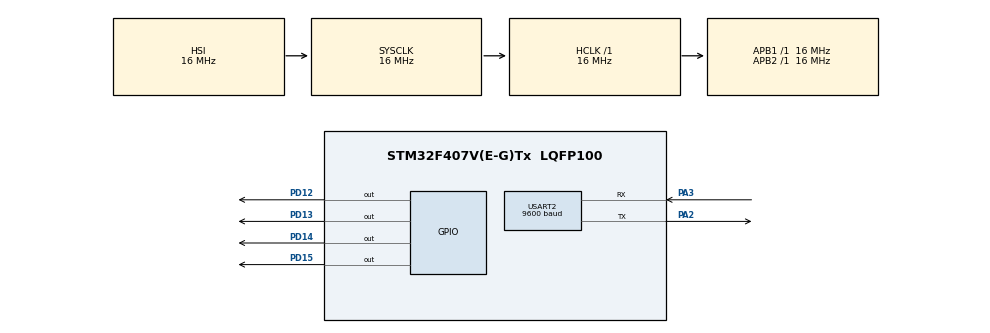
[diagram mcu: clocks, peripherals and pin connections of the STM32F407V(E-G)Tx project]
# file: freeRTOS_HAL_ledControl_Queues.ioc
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Mcu.Family=STM32F4
Mcu.Name=STM32F407V(E-G)Tx
Mcu.Package=LQFP100
NVIC.PriorityGroup=NVIC_PRIORITYGROUP_4
NVIC.TIM6_DAC_IRQn=true\:15\:0\:false\:false\:true\:false\:true\:true
NVIC.TimeBase=TIM6_DAC_IRQn
NVIC.TimeBaseIP=TIM6
NVIC.USART2_IRQn=true\:0\:0\:true\:true\:true\:1\:true\:true\:true
PA13.Mode=Serial_Wire
PA13.Signal=SYS_JTMS-SWDIO
PA14.Mode=Serial_Wire
PA14.Signal=SYS_JTCK-SWCLK
PA2.Mode=Asynchronous
PA2.Signal=USART2_TX
PA3.Mode=Asynchronous
PA3.Signal=USART2_RX
PD12.Signal=GPIO_Output
PD13.Signal=GPIO_Output
PD14.Signal=GPIO_Output
PD15.Signal=GPIO_Output
ProjectManager.HeapSize=0x200
ProjectManager.StackSize=0x400
ProjectManager.TargetToolchain=STM32CubeIDE
RCC.AHBFreq_Value=16000000
RCC.APB1Freq_Value=16000000
RCC.APB2Freq_Value=16000000
RCC.CortexFreq_Value=16000000
RCC.HSE_VALUE=25000000
RCC.HSI_VALUE=16000000
RCC.LSE_VALUE=32768
RCC.SYSCLKFreq_VALUE=16000000
RCC.VCOOutputFreq_Value=192000000
USART2.BaudRate=9600
USART2.VirtualMode=VM_ASYNC
VP_SYS_VS_tim6.Mode=TIM6
board=custom

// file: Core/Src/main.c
/* USER CODE BEGIN Header */
/**
  ******************************************************************************
  * @file           : main.c
  * @brief          : Main program body
  ******************************************************************************
  * @attention
  *
  * Copyright (c) 2022 STMicroelectronics.
  * All rights reserved.
  *
  * This software is licensed under terms that can be found in the LICENSE file
  * in the root directory of this software component.
  * If no LICENSE file comes with this software, it is provided AS-IS.
  *
  ******************************************************************************
  */
/* USER CODE END Header */
#include "main.h"

/* USER CODE BEGIN Includes */
#include "FreeRTOS.h"
#include "task.h"
#include "queue.h"
#include "timers.h"
/* USER CODE END Includes */

 UART_HandleTypeDef huart2;

/* USER CODE BEGIN PV */

 /*************************definations*****************************************/

#define LED_ON 			1
#define LED_OFF			2
#define LED_TOGGLE_ON	3
#define LED_TOGGLE_OFF	4
#define LED_STATUS		5
#define LED_EXIT		6

 typedef struct
 {
	 uint8_t COMMAND_NUM;
	 uint8_t COMMAND_ARGS[10];
 }AppCommands_t;

 char menu[]={	 "    				 \r\n" \
		 	 	 "Menu************** \r\n" \
		 	 	 "Led On		-> 1 \r\n" \
		 	 	 "Led Off		-> 2 \r\n" \
				 "Led Toggle On	-> 3 \r\n" \
				 "Led Toggle Off-> 4 \r\n" \
				 "Led Status	-> 5 \r\n" \
				 "Led App Exit	-> 6 \r\n" \
				 "    				 \r\n" \
				 "Type Your Option:  \r\n" };

 /*************************tasks***********************************************/
 TaskHandle_t task1MenuHandle 			= NULL;
 TaskHandle_t task2CommandHandle 		= NULL;
 TaskHandle_t task3CommandProcessHandle = NULL;
 TaskHandle_t task4UartWriteHandle 		= NULL;

 /***********************queues***********************************************/
 QueueHandle_t UartWriteQueue 	= NULL;
 QueueHandle_t CommandQueue 	= NULL;

 /***********************timers***********************************************/
 TimerHandle_t LedTimerHandle 	= NULL;

 /***********************variables********************************************/
uint8_t rxData=0;
uint8_t rxDataBuff[20]={0};
uint8_t rxDataCount=0;

/***********************functions*********************************************/
 void Task1_Menu_Display(void *params);
 void Task2_Command_Handling_Handler(void *params);
 void Task3_Command_Process_Handler(void *params);
 void Task4_Uart_Write_Handler(void *params);
 uint8_t getCommandCode(uint8_t *buffer);
 uint8_t getArguments(uint8_t *buffer);

 void ledOn(void);
 void ledOff(void);
 void ledToggleOff(void);
 void ledToggleOn(uint32_t duration);
 void ledStatus(char *ledStateMessage);
 void ledExit(char *ledExitMessage);
 void ledError(char *ledErrorMessage);

/* USER CODE END PV */

void SystemClock_Config(void);
static void MX_GPIO_Init(void);
static void MX_USART2_UART_Init(void);
static void MX_NVIC_Init(void);
/* USER CODE BEGIN PFP */

uint8_t getCommandCode(uint8_t *buffer)
{
	return buffer[0]-48;
}
uint8_t getArguments(uint8_t *buffer)
{
	return buffer[0];
}
void ledOn(void)
{
	HAL_GPIO_WritePin(GPIOD, GPIO_PIN_12 | GPIO_PIN_13 | GPIO_PIN_14 | GPIO_PIN_15, GPIO_PIN_SET);
}
void ledOff(void)
{
	HAL_GPIO_WritePin(GPIOD, GPIO_PIN_12 | GPIO_PIN_13 | GPIO_PIN_14 | GPIO_PIN_15, GPIO_PIN_RESET);
}
void toggle(void)
{
	HAL_GPIO_TogglePin(GPIOD, GPIO_PIN_12 | GPIO_PIN_13 | GPIO_PIN_14 | GPIO_PIN_15);
}
void ledToggleOn(uint32_t duration)
{
	if(LedTimerHandle == NULL)
		LedTimerHandle = xTimerCreate("LedToggleTimer", duration, 1, 0, toggle);

	xTimerStart(LedTimerHandle, portMAX_DELAY);
}
void ledToggleOff(void)
{
	xTimerStop(LedTimerHandle, portMAX_DELAY);
	ledOff();
}
void ledExit(char *ledExitMessage)
{
	sprintf(ledExitMessage, "System is closing and go to sleep \r\n");
	xQueueSend(UartWriteQueue, &ledExitMessage, portMAX_DELAY);

	vTaskDelete(task1MenuHandle);
	vTaskDelete(task2CommandHandle);
	vTaskDelete(task3CommandProcessHandle);
	vTaskDelete(task4UartWriteHandle);

	HAL_UART_DeInit(&huart2);

	HAL_NVIC_DisableIRQ(USART2_IRQn);
}
void ledError(char *ledErrorMessage)
{
	sprintf(ledErrorMessage, "Wrong Led Status \r\n");
	xQueueSend(UartWriteQueue, &ledErrorMessage, portMAX_DELAY);
}
void ledStatus(char *ledStateMessage)
{
	sprintf(ledStateMessage, "Led Status is: %d \r\n", HAL_GPIO_ReadPin(GPIOD, GPIO_PIN_12));
	xQueueSend(UartWriteQueue, &ledStateMessage, portMAX_DELAY);
}
void vApplicationIdleHook(void)
{
//	HAL_PWR_EnterSTANDBYMode
	 __WFI();
}
void HAL_UART_RxCpltCallback(UART_HandleTypeDef *huart)
{

	BaseType_t xHigherPriorityTaskWoken = pdFALSE;
	if(huart->Instance == USART2 )
	{

		if(rxData == 10)
		{
			xTaskNotifyFromISR(task1MenuHandle, 0, eNoAction, xHigherPriorityTaskWoken);
			xTaskNotifyFromISR(task2CommandHandle, 0, eNoAction, xHigherPriorityTaskWoken);
			rxDataCount=0;
		}
		else
			rxDataBuff[rxDataCount++]=rxData;

		__HAL_UART_CLEAR_FLAG(&huart2,UART_FLAG_RXNE);
		HAL_UART_Receive_IT(&huart2, &rxData, sizeof(rxData));
	}

	if(xHigherPriorityTaskWoken == pdTRUE)
	{
		taskYIELD();
	}
}

void sendMessage(char *message)
{
	while(__HAL_UART_GET_FLAG(&huart2,UART_FLAG_TXE) != SET);
	HAL_UART_Transmit (&huart2, &message[0], strlen(message), portMAX_DELAY);
}

void Task1_Menu_Display(void *params)
{
	char *task1RxData = menu;

	while(1)
	{

		//send data -> uart_queue
		xQueueSend(UartWriteQueue, &task1RxData, portMAX_DELAY);
		//wait notify
		xTaskNotifyWait(0, 0, NULL, portMAX_DELAY);
	}
}
void Task2_Command_Handling_Handler(void *params)
{
	uint8_t commandCode=0;

	AppCommands_t *appTxCmd;
	while(1)
	{
		xTaskNotifyWait(0, 0, 0, portMAX_DELAY);
		appTxCmd = (AppCommands_t*)pvPortMalloc(sizeof(AppCommands_t));

		taskENTER_CRITICAL();
		commandCode = getCommandCode(&rxDataBuff[0]);
		appTxCmd->COMMAND_NUM=commandCode;
		getArguments(appTxCmd->COMMAND_ARGS);
		taskEXIT_CRITICAL();
		//command_buffer -> command_queue
		xQueueSend(CommandQueue, &appTxCmd, portMAX_DELAY);
	}
}
void Task3_Command_Process_Handler(void *params)
{
	AppCommands_t *appRxCmd;
	char taskStateMessage[50];
	uint16_t toggleTime = pdMS_TO_TICKS(500);
	while(1)
	{
		//READ FROM COMMAND_QUEUE
		xQueueReceive(CommandQueue, (void*)&appRxCmd, portMAX_DELAY);

		//PROCESS
		if(appRxCmd->COMMAND_NUM == LED_ON)
		{
			ledOn();
		}
		else if(appRxCmd->COMMAND_NUM == LED_OFF)
		{
			ledOff();
		}
		else if(appRxCmd->COMMAND_NUM == LED_TOGGLE_ON)
		{
			ledToggleOn(toggleTime);
		}
		else if(appRxCmd->COMMAND_NUM == LED_TOGGLE_OFF)
		{
			ledToggleOff();
		}
		else if(appRxCmd->COMMAND_NUM == LED_STATUS)
		{
			ledStatus(taskStateMessage);
		}
		else if(appRxCmd->COMMAND_NUM == LED_EXIT)
		{
			ledExit(taskStateMessage);
		}
		else
			ledError(taskStateMessage);
	}
}
void Task4_Uart_Write_Handler(void *params)
{
	char *task4TxData=NULL;
	while(1)
	{
		//READ FROM UART_WRITE_QUEUE
		xQueueReceive(UartWriteQueue, &task4TxData, portMAX_DELAY);
		//SEND MESSAGE
		sendMessage(task4TxData);
	}
}

/* USER CODE END PFP */

int main(void)
{

  /* MCU Configuration--------------------------------------------------------*/

  /* Reset of all peripherals, Initializes the Flash interface and the Systick. */
  HAL_Init();

  /* Configure the system clock */
  SystemClock_Config();

  /* Initialize all configured peripherals */
  MX_GPIO_Init();
  MX_USART2_UART_Init();

  /* Initialize interrupts */
  MX_NVIC_Init();
  /* USER CODE BEGIN 2 */

  sendMessage("This is Queue Command processing.\r\n");

  UartWriteQueue 	= xQueueCreate(50, sizeof(char *));
  CommandQueue		= xQueueCreate(10, sizeof(AppCommands_t));

  if((UartWriteQueue != NULL) && (CommandQueue != NULL))
  {

	  sendMessage("Queue creation succesful.\r\n");

	  xTaskCreate(Task1_Menu_Display,
				  "task1 Menu Display",
				  configMINIMAL_STACK_SIZE*3,
				  NULL,
				  1,
				  &task1MenuHandle);

	  xTaskCreate(Task2_Command_Handling_Handler,
				  "task2 Command Handling",
				  configMINIMAL_STACK_SIZE*3,
				  NULL,
				  2,
				  &task2CommandHandle);

	  xTaskCreate(Task3_Command_Process_Handler,
				  "task3 Command Process",
				  configMINIMAL_STACK_SIZE*3,
				  NULL,
				  2,
				  &task3CommandProcessHandle);

	  xTaskCreate(Task4_Uart_Write_Handler,
				  "task4 Uart Write",
				  configMINIMAL_STACK_SIZE*3,
				  NULL,
				  2,
				  &task4UartWriteHandle);

	  vTaskStartScheduler();
  }
  else
  {

	  sendMessage("Queue creation failed.\r\n");
  }

  /* USER CODE END 2 */

  /* Infinite loop */
  while (1)
  {

  }
}

void SystemClock_Config(void)
{
  RCC_OscInitTypeDef RCC_OscInitStruct = {0};
  RCC_ClkInitTypeDef RCC_ClkInitStruct = {0};

  /** Configure the main internal regulator output voltage
  */
  __HAL_RCC_PWR_CLK_ENABLE();
  __HAL_PWR_VOLTAGESCALING_CONFIG(PWR_REGULATOR_VOLTAGE_SCALE1);

  /** Initializes the RCC Oscillators according to the specified parameters
  * in the RCC_OscInitTypeDef structure.
  */
  RCC_OscInitStruct.OscillatorType = RCC_OSCILLATORTYPE_HSI;
  RCC_OscInitStruct.HSIState = RCC_HSI_ON;
  RCC_OscInitStruct.HSICalibrationValue = RCC_HSICALIBRATION_DEFAULT;
  RCC_OscInitStruct.PLL.PLLState = RCC_PLL_NONE;
  if (HAL_RCC_OscConfig(&RCC_OscInitStruct) != HAL_OK)
  {
    Error_Handler();
  }

  /** Initializes the CPU, AHB and APB buses clocks
  */
  RCC_ClkInitStruct.ClockType = RCC_CLOCKTYPE_HCLK|RCC_CLOCKTYPE_SYSCLK
                              |RCC_CLOCKTYPE_PCLK1|RCC_CLOCKTYPE_PCLK2;
  RCC_ClkInitStruct.SYSCLKSource = RCC_SYSCLKSOURCE_HSI;
  RCC_ClkInitStruct.AHBCLKDivider = RCC_SYSCLK_DIV1;
  RCC_ClkInitStruct.APB1CLKDivider = RCC_HCLK_DIV1;
  RCC_ClkInitStruct.APB2CLKDivider = RCC_HCLK_DIV1;

  if (HAL_RCC_ClockConfig(&RCC_ClkInitStruct, FLASH_LATENCY_0) != HAL_OK)
  {
    Error_Handler();
  }
}

/**
  * @brief NVIC Configuration.
  * @retval None
  */
static void MX_NVIC_Init(void)
{
  /* USART2_IRQn interrupt configuration */
  HAL_NVIC_SetPriority(USART2_IRQn, configLIBRARY_MAX_SYSCALL_INTERRUPT_PRIORITY, 0);
  HAL_NVIC_EnableIRQ(USART2_IRQn);
}

static void MX_USART2_UART_Init(void)
{

  huart2.Instance = USART2;
  huart2.Init.BaudRate = 9600;
  huart2.Init.WordLength = UART_WORDLENGTH_8B;
  huart2.Init.StopBits = UART_STOPBITS_1;
  huart2.Init.Parity = UART_PARITY_NONE;
  huart2.Init.Mode = UART_MODE_TX_RX;
  huart2.Init.HwFlowCtl = UART_HWCONTROL_NONE;
  huart2.Init.OverSampling = UART_OVERSAMPLING_16;
  if (HAL_UART_Init(&huart2) != HAL_OK)
  {
    Error_Handler();
  }
  /* USER CODE BEGIN USART2_Init 2 */
  HAL_UART_Receive_IT(&huart2, &rxData, sizeof(rxData));
  /* USER CODE END USART2_Init 2 */

}

static void MX_GPIO_Init(void)
{
  GPIO_InitTypeDef GPIO_InitStruct = {0};

  /* GPIO Ports Clock Enable */
  __HAL_RCC_GPIOA_CLK_ENABLE();
  __HAL_RCC_GPIOD_CLK_ENABLE();

  /*Configure GPIO pin Output Level */
  HAL_GPIO_WritePin(GPIOD, GPIO_PIN_12|GPIO_PIN_13|GPIO_PIN_14|GPIO_PIN_15, GPIO_PIN_RESET);

  /*Configure GPIO pins : PD12 PD13 PD14 PD15 */
  GPIO_InitStruct.Pin = GPIO_PIN_12|GPIO_PIN_13|GPIO_PIN_14|GPIO_PIN_15;
  GPIO_InitStruct.Mode = GPIO_MODE_OUTPUT_PP;
  GPIO_InitStruct.Pull = GPIO_NOPULL;
  GPIO_InitStruct.Speed = GPIO_SPEED_FREQ_LOW;
  HAL_GPIO_Init(GPIOD, &GPIO_InitStruct);

}

void HAL_TIM_PeriodElapsedCallback(TIM_HandleTypeDef *htim)
{
  if (htim->Instance == TIM6) {
    HAL_IncTick();
  }
}

void Error_Handler(void)
{
  __disable_irq();
  while (1)
  {
  }
}
